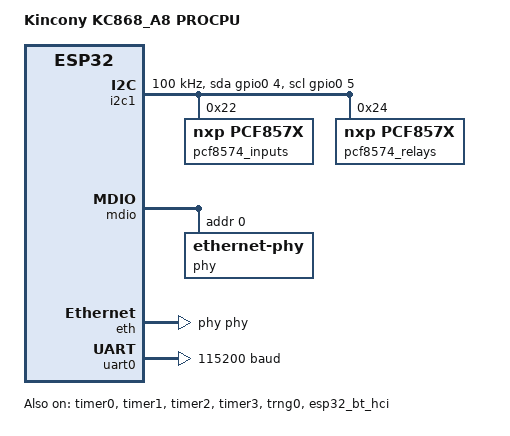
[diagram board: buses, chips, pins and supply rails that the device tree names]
/*
 * Copyright (c) 2026 Bartosz Bilas
 *
 * SPDX-License-Identifier: Apache-2.0
 */
/dts-v1/;

#include <espressif/esp32/esp32_wroom_32ue_n4.dtsi>
#include "kincony_kc868_a8-pinctrl.dtsi"
#include <espressif/partitions_0x1000_amp.dtsi>

/ {
	model = "Kincony KC868_A8 PROCPU";
	compatible = "espressif,esp32";

	aliases {
		uart-0 = &uart0;
		watchdog0 = &wdt0;
	};

	chosen {
		zephyr,sram = &sram1;
		zephyr,console = &uart0;
		zephyr,shell-uart = &uart0;
		zephyr,flash = &flash0;
		zephyr,code-partition = &slot0_partition;
		zephyr,bt-hci = &esp32_bt_hci;
	};
};

&gpio0 {
	status = "okay";
};

&gpio1 {
	status = "okay";
};

&i2c1 {
	status = "okay";
	clock-frequency = <I2C_BITRATE_STANDARD>;
	sda-gpios = <&gpio0 4 GPIO_OPEN_DRAIN>;
	scl-gpios = <&gpio0 5 GPIO_OPEN_DRAIN>;
	pinctrl-0 = <&i2c1_default>;
	pinctrl-names = "default";

	pcf8574_inputs: i2c1_pcf8574@22 {
		compatible = "nxp,pcf857x";
		reg = <0x22>;
		gpio-controller;
		#gpio-cells = <2>;
		ngpios = <8>;
		gpio-line-names = "IN1", "IN2", "IN3", "IN4",
				  "IN5", "IN6", "IN7", "IN8";
	};

	pcf8574_relays: i2c1_pcf8574@24 {
		compatible = "nxp,pcf857x";
		reg = <0x24>;
		gpio-controller;
		#gpio-cells = <2>;
		ngpios = <8>;
		gpio-line-names = "RLY1", "RLY2", "RLY3", "RLY4",
				  "RLY5", "RLY6", "RLY7", "RLY8";
	};
};

&mdio {
	pinctrl-0 = <&mdio_default>;
	pinctrl-names = "default";
	status = "okay";

	phy: ethernet-phy@0 {
		compatible = "ethernet-phy";
		status = "okay";
		reg = <0>;
	};
};

&eth {
	status = "okay";
	phy-handle = <&phy>;
	ref-clk-output-gpios = <&gpio0 17 0>;
};

&psram0 {
	status = "disabled";
};

&timer0 {
	status = "okay";
};

&timer1 {
	status = "okay";
};

&timer2 {
	status = "okay";
};

&timer3 {
	status = "okay";
};

&trng0 {
	status = "okay";
};

&uart0 {
	status = "okay";
	current-speed = <115200>;
	pinctrl-0 = <&uart0_default>;
	pinctrl-names = "default";
};

&esp32_bt_hci {
	status = "okay";
};
